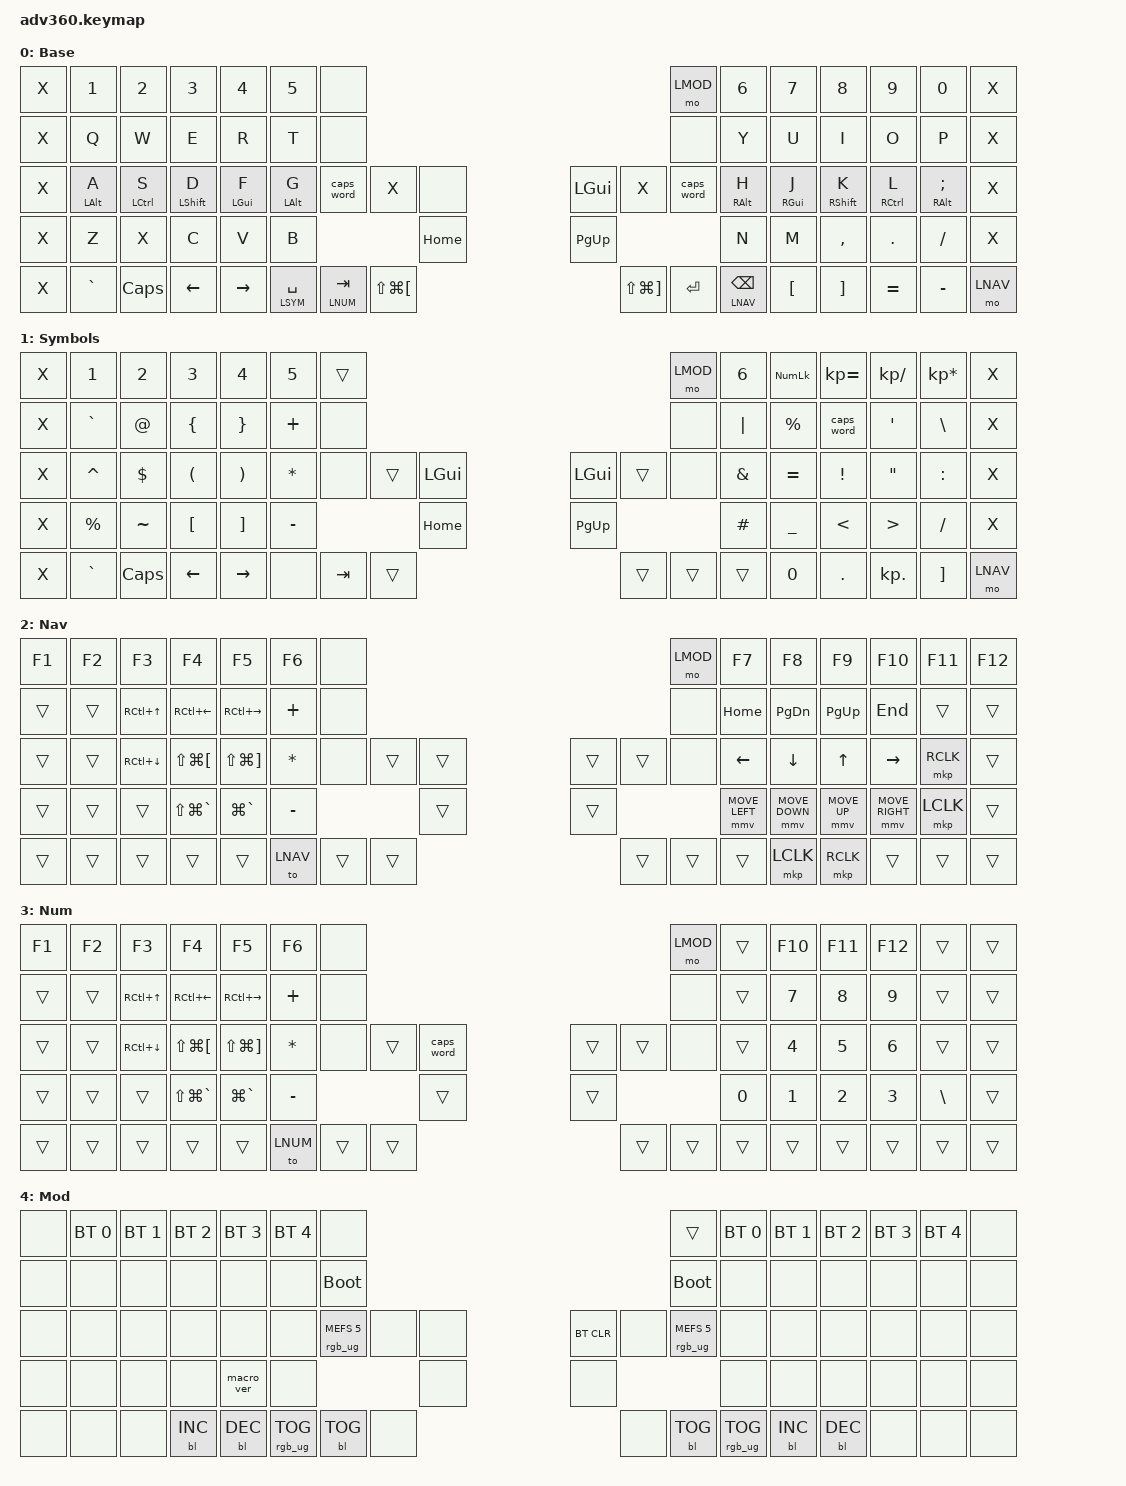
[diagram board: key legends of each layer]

#include <behaviors.dtsi>
#include <dt-bindings/zmk/keys.h>
#include <dt-bindings/zmk/bt.h>
#include <dt-bindings/zmk/rgb.h>
#include <dt-bindings/zmk/stp.h>
#include <dt-bindings/zmk/backlight.h>
#include <dt-bindings/zmk/pointing.h>
#include "keys_tr.h"

#define LDEF 0
#define LSYM 1
#define LNAV 2
#define LNUM 3
#define LMOD 4


/ {
  combos {
    compatible = "zmk,combos";
    combo_esc {
      timeout-ms = <50>;
      key-positions = <49 50>;
      bindings = <&kp ESC>;
    };
    combo_del {
      timeout-ms = <50>;
      key-positions = <55 56>;
      bindings = <&kp DEL>;
    };
    combo_scrolup {
      timeout-ms = <50>;
      key-positions = <23 24>;
      bindings = <&msc SCRL_DOWN>;
      layers = <LNAV>;
    };
    combo_scroldown {
      timeout-ms = <50>;
      key-positions = <41 42>;
      bindings = <&msc SCRL_UP>;
      layers = <LNAV>;
    };
  };

  behaviors {
    #include "macros.dtsi"
    #include "version.dtsi"
    #ifndef VERSION_MACRO
    macro_ver: macro_ver {
      compatible = "zmk,behavior-macro";
      label = "macro_version";
      #binding-cells = <0>;
      bindings = <&kp RET>;
    };
    #endif

    macro_combo: macro_combo {
        compatible = "zmk,behavior-macro";
        label = "macro_combo";
        #binding-cells = <0>;
        bindings = <&kp N2>, <&kp N0>, <&kp N2>, <&kp N4>, <&kp N0>, <&kp N2>, <&kp N1>, <&kp N8>, <&kp MINUS>, <&kp V>, <&kp N1>, <&kp DOT>, <&kp N0>, <&kp MINUS>, <&kp A>, <&kp N7>, <&kp C>, <&kp A>, <&kp N1>, <&kp N8>, <&kp N3>, <&kp RET>;
    };

    hm: homerow_mods {
        compatible = "zmk,behavior-hold-tap";
        label = "HOMEROW_MODS";
        #binding-cells = <2>;
        tapping-term-ms = <220>;
        quick_tap_ms = <200>;
        flavor = "balanced";
        bindings = <&kp>, <&kp>;
    };

    // using &hlt instead of &lt. It enables quick tap
    hlt: homerow_layers {
        compatible = "zmk,behavior-hold-tap";
        label = "HOMEROW_LAYERS";
        #binding-cells = <2>;
        tapping-term-ms = <220>;
        quick_tap_ms = <200>;
        flavor = "balanced";
        bindings = <&mo>, <&kp>;
    };
  };

    macros {
        m_tr_g: m_tr_g {
            label = "ZM_m_tr_g";
            compatible = "zmk,behavior-macro";
            #binding-cells = <0>;
            bindings
                = <&macro_press &kp LALT>
                , <&macro_tap &kp SPACE>
                , <&macro_release &kp LALT>
                , <&macro_tap &kp LEFT_BRACKET>
                , <&macro_press &kp LALT>
                , <&macro_tap &kp SPACE>
                , <&macro_release &kp LALT>
                ;
        };

    };

    keymap {
        compatible = "zmk,keymap";


        default_layer {
            display-name = "Base";
            bindings = <
 &kp X      &kp N1      &kp N2        &kp N3               &kp N4                &kp N5         &none                                                                                               &mo LMOD    &kp N6        &kp N7         &kp N8       &kp N9        &kp N0           &kp X
 &kp X      &kp Q       &kp W         &kp E                &kp R                 &kp T          &none                                                                                               &none       &kp Y         &kp U          &kp I        &kp O         &kp P            &kp X
 &kp X      &hm LALT A  &hm LCTRL S   &hm LSHIFT D         &hm LGUI F            &hm LALT G     &caps_word &kp X         &none                                      &kp LGUI         &kp X          &caps_word  &hm RALT H    &hm RGUI J     &hm RSHIFT K &hm RCTRL L   &hm RALT SEMI    &kp X
 &kp X      &kp Z       &kp X         &kp C                &kp V                 &kp B                                   &kp HOME                                   &kp PG_UP                                   &kp N         &kp M          &kp COMMA    &kp DOT       &kp FSLH         &kp X
 &kp X      &kp GRAVE   &kp CAPS      &kp LEFT             &kp RIGHT                       &hlt LSYM SPACE &hlt LNUM TAB &kp LS(LG(LBKT))                           &kp LS(LG(RBKT)) &kp ENTER      &hlt LNAV BSPC            &kp LBKT       &kp RBKT     &kp EQUAL     &kp MINUS        &mo LNAV
            >;
        };


        layer_symbol {
            display-name = "Symbols";
            bindings = <
 &kp X      &kp N1      &kp N2        &kp N3               &kp N4                &kp N5         &trans                                                                                              &mo LMOD    &kp N6        &kp KP_NUM     &kp KP_EQUAL  &kp KP_DIVIDE    &kp KP_MULTIPLY  &kp X
 &kp X      &kp GRAVE   &kp AT        &kp LEFT_BRACE       &kp RIGHT_BRACE       &kp PLUS       &none                                                                                               &none       &kp PIPE      &kp PERCENT    &caps_word    &kp SQT          &kp BSLH         &kp X
 &kp X      &kp CARET   &kp DOLLAR    &kp LEFT_PARENTHESIS &kp RIGHT_PARENTHESIS &kp ASTERISK   &none      &trans        &kp LGUI                                   &kp LGUI         &trans         &none       &kp AMPERSAND &kp EQUAL      &kp EXCL      &kp DQT          &kp COLON        &kp X
 &kp X      &kp PERCENT &kp TILDE     &kp LEFT_BRACKET     &kp RIGHT_BRACKET     &kp MINUS                               &kp HOME                                   &kp PG_UP                                   &kp HASH      &kp UNDERSCORE &kp LESS_THAN &kp GREATER_THAN &kp FSLH         &kp X
 &kp X      &kp GRAVE   &kp CAPS      &kp LEFT             &kp RIGHT                            &none      &kp TAB       &trans                                     &trans           &trans         &trans                    &kp N0         &kp DOT       &kp KP_DOT       &kp RBKT         &mo LNAV
            >;
        };

        layer_navigation {
            display-name = "Nav";
            bindings = <
 &kp F1     &kp F2      &kp F3        &kp F4               &kp F5                &kp F6         &none                                                                                               &mo LMOD    &kp F7          &kp F8       &kp F9         &kp F10          &kp F11          &kp F12
 &trans     &trans      &kp RC(UP)    &kp RC(LEFT)         &kp RC(RIGHT)         &kp PLUS       &none                                                                                               &none       &kp HOME        &kp PG_DN    &kp PG_UP      &kp END          &trans           &trans
 &trans     &trans      &kp RC(DOWN)  &kp LS(LG(LBKT))     &kp LS(LG(RBKT))      &kp ASTERISK   &none      &trans        &trans                                     &trans           &trans         &none       &kp LEFT        &kp DOWN     &kp UP         &kp RIGHT        &mkp RCLK        &trans
 &trans     &trans      &trans        &kp LS(LG(GRAVE))    &kp LG(GRAVE)         &kp MINUS                               &trans                                     &trans                                      &mmv MOVE_LEFT  &mmv MOVE_DOWN &mmv MOVE_UP &mmv MOVE_RIGHT  &mkp LCLK        &trans
 &trans     &trans      &trans        &trans               &trans                               &to LNAV   &trans        &trans                                     &trans           &trans         &trans                      &mkp LCLK    &mkp RCLK      &trans           &trans           &trans
            >;
        };

        layer_number {
            display-name = "Num";
            bindings = <
 &kp F1     &kp F2      &kp F3        &kp F4               &kp F5                &kp F6         &none                                                                                               &mo LMOD    &trans        &kp F10        &kp F11      &kp F12       &trans           &trans
 &trans     &trans      &kp RC(UP)    &kp RC(LEFT)         &kp RC(RIGHT)         &kp PLUS       &none                                                                                               &none       &trans        &kp N7         &kp N8       &kp N9        &trans           &trans
 &trans     &trans      &kp RC(DOWN)  &kp LS(LG(LBKT))     &kp LS(LG(RBKT))      &kp ASTERISK   &none      &trans        &caps_word                                 &trans           &trans         &none       &trans        &kp N4         &kp N5       &kp N6        &trans           &trans
 &trans     &trans      &trans        &kp LS(LG(GRAVE))    &kp LG(GRAVE)         &kp MINUS                               &trans                                     &trans                                      &kp N0        &kp N1         &kp N2       &kp N3        &kp BSLH         &trans
 &trans     &trans      &trans        &trans               &trans                               &to LNUM   &trans        &trans                                     &trans           &trans         &trans                    &trans         &trans       &trans        &trans           &trans
            >;
        };

        layer_mod {
            display-name = "Mod";
            bindings = <
 &none     &bt BT_SEL 0 &bt BT_SEL 1  &bt BT_SEL 2         &bt BT_SEL 3          &bt BT_SEL 4   &none                                                                                               &trans      &bt BT_SEL 0  &bt BT_SEL 1   &bt BT_SEL 2 &bt BT_SEL 3  &bt BT_SEL 4     &none
 &none      &none       &none         &none                &none                 &none          &bootloader                                                                                         &bootloader &none         &none          &none        &none         &none            &none
 &none      &none       &none         &none                &none                 &none       &rgb_ug RGB_MEFS_CMD 5 &none &none                                     &bt BT_CLR       &none     &rgb_ug RGB_MEFS_CMD 5 &none   &none          &none        &none         &none            &none
 &none      &none       &none         &none                &macro_ver            &none                                   &none                                      &none                                       &none         &none          &none        &none         &none            &none
 &none      &none       &none         &bl BL_INC           &bl BL_DEC                        &rgb_ug RGB_TOG &bl BL_TOG  &none                                      &none            &bl BL_TOG     &rgb_ug RGB_TOG           &bl BL_INC     &bl BL_DEC   &none         &none            &none
            >;
        };
    };
};
